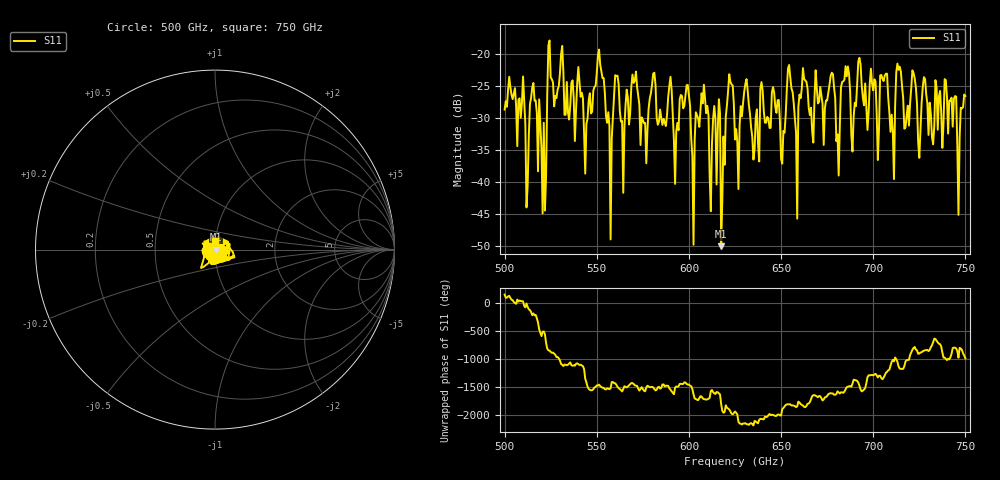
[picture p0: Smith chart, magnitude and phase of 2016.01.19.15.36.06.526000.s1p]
!Created with skrf (http://scikit-rf.org).
# GHz S RI R 50.0
!freq ReS11 ImS11
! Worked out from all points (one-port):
!   401 points, 500 GHz to 750 GHz, reference 50 ohm
!   lowest |S11| = -50.1 dB at 617.5 GHz (marker M1), VSWR 1.01, Z = 50.3 - j0.0466 ohm
!   |S11| at or under -10 dB: start of sweep to end of sweep
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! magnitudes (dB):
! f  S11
! 500 GHz  -28.7
! 509.4 GHz  -27.7
! 512.5 GHz  -40.6
! 515.6 GHz  -24.5
! 521.2 GHz  -30.7
! 524.4 GHz  -17.8
! 531.2 GHz  -18.7
! 544.4 GHz  -30.9
! 551.9 GHz  -21.6
! 556.9 GHz  -31.3
! 562.5 GHz  -28.8
! 593.8 GHz  -30.7
! 599.4 GHz  -24.8
! 602.5 GHz  -49.9
! 608.1 GHz  -24.8
! 617.5 GHz  -50.1
! 622.5 GHz  -24.3
! 625 GHz  -33.4
! 650.6 GHz  -37.1
! 656.2 GHz  -25.9
! 658.1 GHz  -32.2
! 687.5 GHz  -26.0
! 706.2 GHz  -23.3
! 710 GHz  -29.5
! 713.8 GHz  -22.4
! 718.8 GHz  -28.1
! 746.9 GHz  -33.0
! 750 GHz  -26.5
